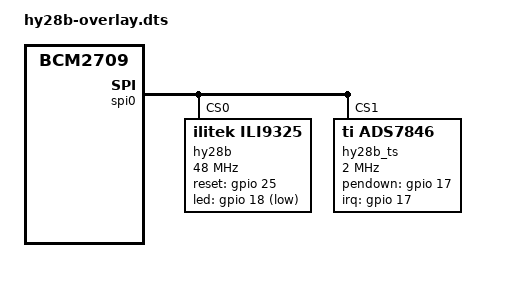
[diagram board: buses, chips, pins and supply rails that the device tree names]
/*
 * Device Tree overlay for HY28b display shield by Texy
 *
 */

/dts-v1/;
/plugin/;

/ {
	compatible = "brcm,bcm2835", "brcm,bcm2708", "brcm,bcm2709";

	fragment@0 {
		target = <&spi0>;
		__overlay__ {
			status = "okay";

			spidev@0{
				status = "disabled";
			};

			spidev@1{
				status = "disabled";
			};
		};
	};

	fragment@1 {
		target = <&gpio>;
		__overlay__ {
			hy28b_pins: hy28b_pins {
				brcm,pins = <17 25 18>;
				brcm,function = <0 1 1>; /* in out out */
			};
		};
	};

	fragment@2 {
		target = <&spi0>;
		__overlay__ {
			/* needed to avoid dtc warning */
			#address-cells = <1>;
			#size-cells = <0>;

			hy28b: hy28b@0{
				compatible = "ilitek,ili9325";
				reg = <0>;
				pinctrl-names = "default";
				pinctrl-0 = <&hy28b_pins>;

				spi-max-frequency = <48000000>;
				spi-cpol;
				spi-cpha;
				rotate = <270>;
				bgr;
				fps = <50>;
				buswidth = <8>;
				startbyte = <0x70>;
				reset-gpios = <&gpio 25 0>;
				led-gpios = <&gpio 18 1>;

				gamma = "04 1F 4 7 7 0 7 7 6 0\n0F 00 1 7 4 0 0 0 6 7";

				init = <0x10000e7 0x0010
					0x1000000 0x0001
					0x1000001 0x0100
					0x1000002 0x0700
				        0x1000003 0x1030
					0x1000004 0x0000
					0x1000008 0x0207
					0x1000009 0x0000
				        0x100000a 0x0000
					0x100000c 0x0001
					0x100000d 0x0000
					0x100000f 0x0000
				        0x1000010 0x0000
					0x1000011 0x0007
					0x1000012 0x0000
					0x1000013 0x0000
				        0x2000032
					0x1000010 0x1590
					0x1000011 0x0227
				        0x2000032
					0x1000012 0x009c
				        0x2000032
				        0x1000013 0x1900
					0x1000029 0x0023
					0x100002b 0x000e
				        0x2000032
				        0x1000020 0x0000
					0x1000021 0x0000
				        0x2000032
					0x1000050 0x0000
				        0x1000051 0x00ef
					0x1000052 0x0000
					0x1000053 0x013f
					0x1000060 0xa700
				        0x1000061 0x0001
					0x100006a 0x0000
					0x1000080 0x0000
					0x1000081 0x0000
				        0x1000082 0x0000
					0x1000083 0x0000
					0x1000084 0x0000
					0x1000085 0x0000
				        0x1000090 0x0010
					0x1000092 0x0000
					0x1000093 0x0003
					0x1000095 0x0110
				        0x1000097 0x0000
					0x1000098 0x0000
					0x1000007 0x0133
					0x1000020 0x0000
				        0x1000021 0x0000
				        0x2000064>;
				debug = <0>;
			};

			hy28b_ts: hy28b-ts@1 {
				compatible = "ti,ads7846";
				reg = <1>;

				spi-max-frequency = <2000000>;
				interrupts = <17 2>; /* high-to-low edge triggered */
				interrupt-parent = <&gpio>;
				pendown-gpio = <&gpio 17 0>;
				ti,x-plate-ohms = /bits/ 16 <100>;
				ti,pressure-max = /bits/ 16 <255>;
			};
		};
	};
	__overrides__ {
		speed = 	<&hy28b>,"spi-max-frequency:0";
		rotate = 	<&hy28b>,"rotate:0";
		fps = 		<&hy28b>,"fps:0";
		debug = 	<&hy28b>,"debug:0";
		xohms =		<&hy28b_ts>,"ti,x-plate-ohms;0";
		resetgpio =	<&hy28b>,"reset-gpios:4",
				<&hy28b_pins>, "brcm,pins:1";
		ledgpio =	<&hy28b>,"led-gpios:4",
				<&hy28b_pins>, "brcm,pins:2";
	};
};
